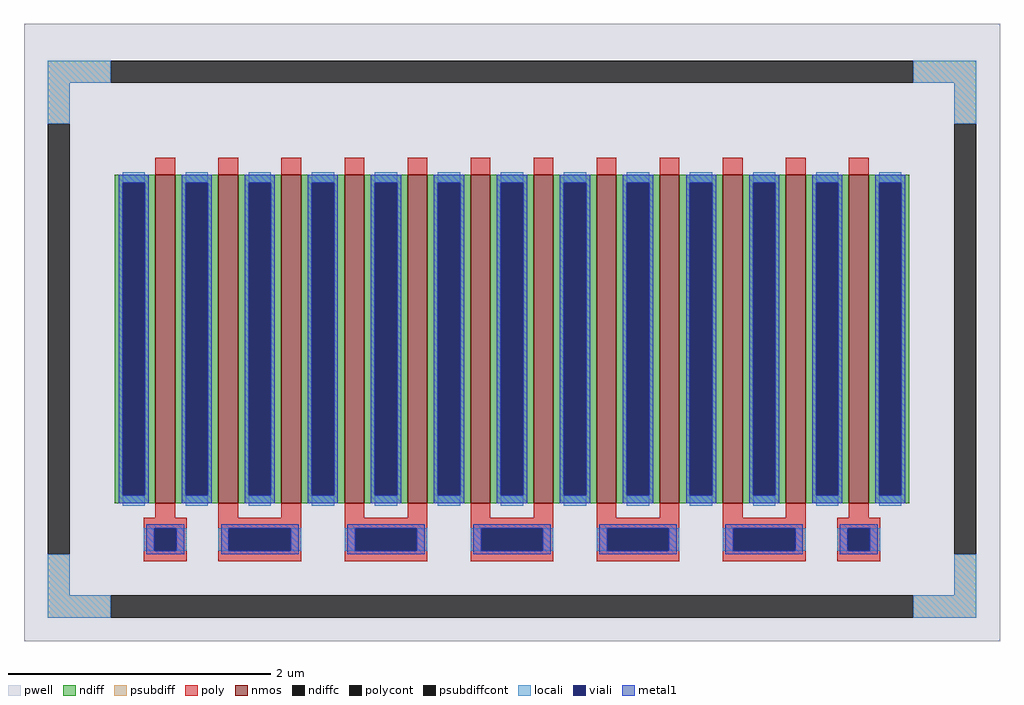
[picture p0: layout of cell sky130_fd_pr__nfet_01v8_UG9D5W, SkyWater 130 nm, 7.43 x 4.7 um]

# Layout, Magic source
magic
tech sky130A
<< pwell >>
rect -371 -230 372 240
<< nmos >>
rect -271 -125 -256 125
rect -223 -125 -208 125
rect -175 -125 -160 125
rect -127 -125 -112 125
rect -79 -125 -64 125
rect -31 -125 -16 125
rect 17 -125 32 125
rect 65 -125 80 125
rect 113 -125 128 125
rect 161 -125 176 125
rect 209 -125 224 125
rect 257 -125 272 125
<< ndiff >>
rect -302 119 -271 125
rect -302 -119 -296 119
rect -279 -119 -271 119
rect -302 -125 -271 -119
rect -256 119 -223 125
rect -256 -119 -248 119
rect -231 -119 -223 119
rect -256 -125 -223 -119
rect -208 119 -175 125
rect -208 -119 -200 119
rect -183 -119 -175 119
rect -208 -125 -175 -119
rect -160 119 -127 125
rect -160 -119 -152 119
rect -135 -119 -127 119
rect -160 -125 -127 -119
rect -112 119 -79 125
rect -112 -119 -104 119
rect -87 -119 -79 119
rect -112 -125 -79 -119
rect -64 119 -31 125
rect -64 -119 -56 119
rect -39 -119 -31 119
rect -64 -125 -31 -119
rect -16 119 17 125
rect -16 -119 -8 119
rect 9 -119 17 119
rect -16 -125 17 -119
rect 32 119 65 125
rect 32 -119 40 119
rect 57 -119 65 119
rect 32 -125 65 -119
rect 80 119 113 125
rect 80 -119 88 119
rect 105 -119 113 119
rect 80 -125 113 -119
rect 128 119 161 125
rect 128 -119 136 119
rect 153 -119 161 119
rect 128 -125 161 -119
rect 176 119 209 125
rect 176 -119 184 119
rect 201 -119 209 119
rect 176 -125 209 -119
rect 224 119 257 125
rect 224 -119 232 119
rect 249 -119 257 119
rect 224 -125 257 -119
rect 272 119 303 125
rect 272 -119 280 119
rect 297 -119 303 119
rect 272 -125 303 -119
<< ndiffc >>
rect -296 -119 -279 119
rect -248 -119 -231 119
rect -200 -119 -183 119
rect -152 -119 -135 119
rect -104 -119 -87 119
rect -56 -119 -39 119
rect -8 -119 9 119
rect 40 -119 57 119
rect 88 -119 105 119
rect 136 -119 153 119
rect 184 -119 201 119
rect 232 -119 249 119
rect 280 -119 297 119
<< psubdiff >>
rect -353 195 -305 212
rect 306 195 354 212
rect -353 164 -336 195
rect 337 164 354 195
rect -353 -195 -336 -164
rect 337 -195 354 -164
rect -353 -212 -305 -195
rect 306 -212 354 -195
<< psubdiffcont >>
rect -305 195 306 212
rect -353 -164 -336 164
rect 337 -164 354 164
rect -305 -212 306 -195
<< poly >>
rect -271 125 -256 138
rect -223 125 -208 138
rect -175 125 -160 138
rect -127 125 -112 138
rect -79 125 -64 138
rect -31 125 -16 138
rect 17 125 32 138
rect 65 125 80 138
rect 113 125 128 138
rect 161 125 176 138
rect 209 125 224 138
rect 257 125 272 138
rect -271 -136 -256 -125
rect -223 -136 -208 -125
rect -175 -136 -160 -125
rect -280 -144 -247 -136
rect -280 -161 -272 -144
rect -255 -161 -247 -144
rect -280 -169 -247 -161
rect -223 -144 -160 -136
rect -223 -161 -215 -144
rect -168 -161 -160 -144
rect -223 -169 -160 -161
rect -127 -136 -112 -125
rect -79 -136 -64 -125
rect -127 -144 -64 -136
rect -127 -161 -119 -144
rect -72 -161 -64 -144
rect -127 -169 -64 -161
rect -31 -136 -16 -125
rect 17 -136 32 -125
rect -31 -144 32 -136
rect -31 -161 -23 -144
rect 24 -161 32 -144
rect -31 -169 32 -161
rect 65 -136 80 -125
rect 113 -136 128 -125
rect 65 -144 128 -136
rect 65 -161 73 -144
rect 120 -161 128 -144
rect 65 -169 128 -161
rect 161 -136 176 -125
rect 209 -136 224 -125
rect 257 -136 272 -125
rect 161 -144 224 -136
rect 161 -161 169 -144
rect 216 -161 224 -144
rect 161 -169 224 -161
rect 248 -144 281 -136
rect 248 -161 256 -144
rect 273 -161 281 -144
rect 248 -169 281 -161
<< polycont >>
rect -272 -161 -255 -144
rect -215 -161 -168 -144
rect -119 -161 -72 -144
rect -23 -161 24 -144
rect 73 -161 120 -144
rect 169 -161 216 -144
rect 256 -161 273 -144
<< locali >>
rect -353 195 -305 212
rect 306 195 354 212
rect -353 164 -336 195
rect 337 164 354 195
rect -296 119 -279 127
rect -296 -127 -279 -119
rect -248 119 -231 127
rect -248 -127 -231 -119
rect -200 119 -183 127
rect -200 -127 -183 -119
rect -152 119 -135 127
rect -152 -127 -135 -119
rect -104 119 -87 127
rect -104 -127 -87 -119
rect -56 119 -39 127
rect -56 -127 -39 -119
rect -8 119 9 127
rect -8 -127 9 -119
rect 40 119 57 127
rect 40 -127 57 -119
rect 88 119 105 127
rect 88 -127 105 -119
rect 136 119 153 127
rect 136 -127 153 -119
rect 184 119 201 127
rect 184 -127 201 -119
rect 232 119 249 127
rect 232 -127 249 -119
rect 280 119 297 127
rect 280 -127 297 -119
rect -280 -161 -272 -144
rect -255 -161 -247 -144
rect -223 -161 -215 -144
rect -168 -161 -160 -144
rect -127 -161 -119 -144
rect -72 -161 -64 -144
rect -31 -161 -23 -144
rect 24 -161 32 -144
rect 65 -161 73 -144
rect 120 -161 128 -144
rect 161 -161 169 -144
rect 216 -161 224 -144
rect 248 -161 256 -144
rect 273 -161 281 -144
rect -353 -195 -336 -164
rect 337 -195 354 -164
rect -353 -212 -305 -195
rect 306 -212 354 -195
<< viali >>
rect -296 -119 -279 119
rect -248 -119 -231 119
rect -200 -119 -183 119
rect -152 -119 -135 119
rect -104 -119 -87 119
rect -56 -119 -39 119
rect -8 -119 9 119
rect 40 -119 57 119
rect 88 -119 105 119
rect 136 -119 153 119
rect 184 -119 201 119
rect 232 -119 249 119
rect 280 -119 297 119
rect -272 -161 -255 -144
rect -215 -161 -168 -144
rect -119 -161 -72 -144
rect -23 -161 24 -144
rect 73 -161 120 -144
rect 169 -161 216 -144
rect 256 -161 273 -144
<< metal1 >>
rect -299 119 -276 125
rect -299 -119 -296 119
rect -279 -119 -276 119
rect -299 -125 -276 -119
rect -251 119 -228 125
rect -251 -119 -248 119
rect -231 -119 -228 119
rect -251 -125 -228 -119
rect -203 119 -180 125
rect -203 -119 -200 119
rect -183 -119 -180 119
rect -203 -125 -180 -119
rect -155 119 -132 125
rect -155 -119 -152 119
rect -135 -119 -132 119
rect -155 -125 -132 -119
rect -107 119 -84 125
rect -107 -119 -104 119
rect -87 -119 -84 119
rect -107 -125 -84 -119
rect -59 119 -36 125
rect -59 -119 -56 119
rect -39 -119 -36 119
rect -59 -125 -36 -119
rect -11 119 12 125
rect -11 -119 -8 119
rect 9 -119 12 119
rect -11 -125 12 -119
rect 37 119 60 125
rect 37 -119 40 119
rect 57 -119 60 119
rect 37 -125 60 -119
rect 85 119 108 125
rect 85 -119 88 119
rect 105 -119 108 119
rect 85 -125 108 -119
rect 133 119 156 125
rect 133 -119 136 119
rect 153 -119 156 119
rect 133 -125 156 -119
rect 181 119 204 125
rect 181 -119 184 119
rect 201 -119 204 119
rect 181 -125 204 -119
rect 229 119 252 125
rect 229 -119 232 119
rect 249 -119 252 119
rect 229 -125 252 -119
rect 277 119 300 125
rect 277 -119 280 119
rect 297 -119 300 119
rect 277 -125 300 -119
rect -278 -144 -249 -141
rect -278 -161 -272 -144
rect -255 -161 -249 -144
rect -278 -164 -249 -161
rect -221 -144 -162 -141
rect -221 -161 -215 -144
rect -168 -161 -162 -144
rect -221 -164 -162 -161
rect -125 -144 -66 -141
rect -125 -161 -119 -144
rect -72 -161 -66 -144
rect -125 -164 -66 -161
rect -29 -144 30 -141
rect -29 -161 -23 -144
rect 24 -161 30 -144
rect -29 -164 30 -161
rect 67 -144 126 -141
rect 67 -161 73 -144
rect 120 -161 126 -144
rect 67 -164 126 -161
rect 163 -144 222 -141
rect 163 -161 169 -144
rect 216 -161 222 -144
rect 163 -164 222 -161
rect 250 -144 279 -141
rect 250 -161 256 -144
rect 273 -161 279 -144
rect 250 -164 279 -161
<< properties >>
string FIXED_BBOX -345 -203 345 203
string gencell sky130_fd_pr__nfet_01v8
string library sky130
string parameters w 2.5 l 0.150 m 1 nf 12 diffcov 100 polycov 100 guard 1 glc 1 grc 1 gtc 1 gbc 1 tbcov 100 rlcov 100 topc 1 botc 1 poverlap 0 doverlap 1 lmin 0.15 wmin 0.42 compatible {sky130_fd_pr__nfet_01v8 sky130_fd_pr__nfet_01v8_lvt  sky130_fd_bs_flash__special_sonosfet_star  sky130_fd_pr__nfet_g5v0d10v5 sky130_fd_pr__nfet_05v0_nvt  sky130_fd_pr__nfet_03v3_nvt} full_metal 1 viasrc 100 viadrn 100 viagate 100 viagb 0 viagr 0 viagl 0 viagt 0
<< end >>
